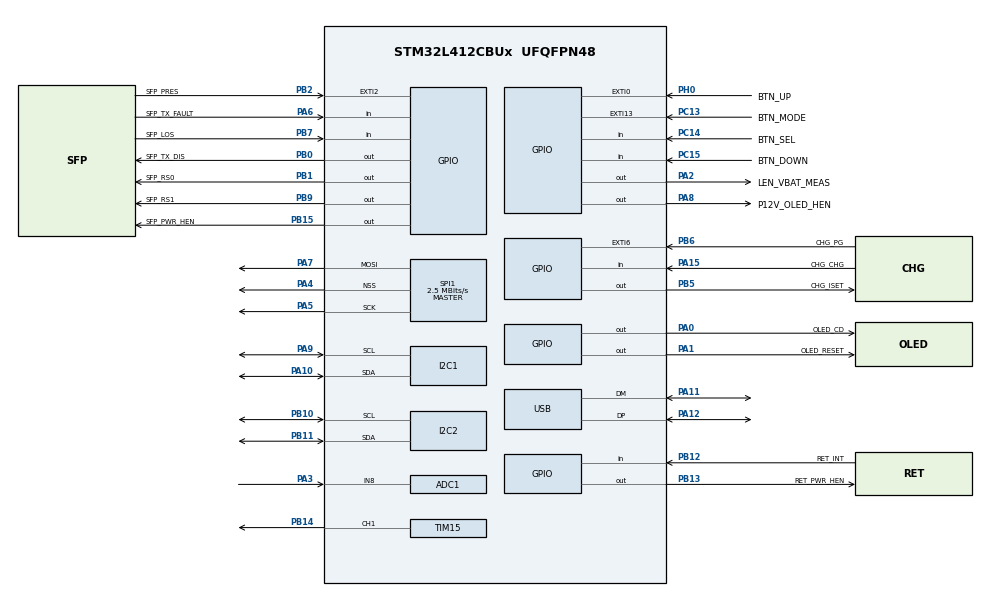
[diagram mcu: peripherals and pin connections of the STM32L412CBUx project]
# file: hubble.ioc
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ADC1.Channel-1\#ChannelRegularConversion=ADC_CHANNEL_8
ADC1.ClockPrescaler=ADC_CLOCK_ASYNC_DIV16
ADC1.NbrOfConversionFlag=1
ADC1.OffsetNumber-1\#ChannelRegularConversion=ADC_OFFSET_NONE
ADC1.Rank-1\#ChannelRegularConversion=1
ADC1.SamplingTime-1\#ChannelRegularConversion=ADC_SAMPLETIME_2CYCLES_5
ADC1.master=1
FREERTOS.Tasks01=defaultTask,24,256,StartDefaultTask,Default,NULL,Static,defaultTaskBuffer,defaultTaskControlBlock
FREERTOS.configLIBRARY_MAX_SYSCALL_INTERRUPT_PRIORITY=5
Mcu.Family=STM32L4
Mcu.Name=STM32L412CBUx
Mcu.Package=UFQFPN48
NVIC.EXTI0_IRQn=true\:5\:0\:false\:false\:true\:true\:true\:true
NVIC.EXTI15_10_IRQn=true\:0\:0\:false\:false\:true\:false\:true\:true
NVIC.EXTI2_IRQn=true\:5\:0\:false\:false\:true\:true\:true\:true
NVIC.EXTI9_5_IRQn=true\:5\:0\:false\:false\:true\:true\:true\:true
NVIC.PriorityGroup=NVIC_PRIORITYGROUP_4
NVIC.TIM1_UP_TIM16_IRQn=true\:0\:0\:false\:false\:true\:false\:false\:true
NVIC.TimeBase=TIM1_UP_TIM16_IRQn
NVIC.TimeBaseIP=TIM1
NVIC.USB_IRQn=true\:5\:0\:false\:false\:true\:true\:false\:true
PA0.GPIO_Label=OLED_CD
PA0.Signal=GPIO_Output
PA1.GPIO_Label=OLED_RESET
PA1.Signal=GPIO_Output
PA10.Mode=I2C
PA10.Signal=I2C1_SDA
PA11.Mode=Device
PA11.Signal=USB_DM
PA12.Mode=Device
PA12.Signal=USB_DP
PA13\ (JTMS/SWDIO).Mode=Trace_Asynchronous_SW
PA13\ (JTMS/SWDIO).Signal=SYS_JTMS-SWDIO
PA14\ (JTCK/SWCLK).Mode=Trace_Asynchronous_SW
PA14\ (JTCK/SWCLK).Signal=SYS_JTCK-SWCLK
PA15\ (JTDI).GPIO_Label=CHG_CHG
PA15\ (JTDI).GPIO_PuPd=GPIO_PULLUP
PA15\ (JTDI).Signal=GPIO_Input
PA2.GPIO_Label=LEN_VBAT_MEAS
PA2.Signal=GPIO_Output
PA3.Signal=ADCx_IN8
PA4.Mode=NSS_Signal_Hard_Output
PA4.Signal=SPI1_NSS
PA5.Mode=TX_Only_Simplex_Unidirect_Master
PA5.Signal=SPI1_SCK
PA6.GPIO_Label=SFP_TX_FAULT
PA6.GPIO_PuPd=GPIO_PULLUP
PA6.Signal=GPIO_Input
PA7.Mode=TX_Only_Simplex_Unidirect_Master
PA7.Signal=SPI1_MOSI
PA8.GPIO_Label=P12V_OLED_HEN
PA8.Signal=GPIO_Output
PA9.Mode=I2C
PA9.Signal=I2C1_SCL
PB0.GPIO_Label=SFP_TX_DIS
PB0.Signal=GPIO_Output
PB1.GPIO_Label=SFP_RS0
PB1.Signal=GPIO_Output
PB10.Mode=I2C
PB10.Signal=I2C2_SCL
PB11.Mode=I2C
PB11.Signal=I2C2_SDA
PB12.GPIO_Label=RET_INT
PB12.GPIO_PuPd=GPIO_PULLDOWN
PB12.Signal=GPIO_Input
PB13.GPIO_Label=RET_PWR_HEN
PB13.Signal=GPIO_Output
PB14.Signal=S_TIM15_CH1
PB15.GPIO_Label=SFP_PWR_HEN
PB15.Signal=GPIO_Output
PB2.GPIO_Label=SFP_PRES
PB2.GPIO_ModeDefaultEXTI=GPIO_MODE_IT_FALLING
PB2.GPIO_PuPd=GPIO_PULLUP
PB2.Signal=GPXTI2
PB3\ (JTDO/TRACESWO).Mode=Trace_Asynchronous_SW
PB3\ (JTDO/TRACESWO).Signal=SYS_JTDO-SWO
PB5.GPIO_Label=CHG_ISET
PB5.Signal=GPIO_Output
PB6.GPIO_Label=CHG_PG
PB6.GPIO_ModeDefaultEXTI=GPIO_MODE_IT_RISING_FALLING
PB6.GPIO_PuPd=GPIO_PULLUP
PB6.Signal=GPXTI6
PB7.GPIO_Label=SFP_LOS
PB7.GPIO_PuPd=GPIO_PULLUP
PB7.Signal=GPIO_Input
PB9.GPIO_Label=SFP_RS1
PB9.Signal=GPIO_Output
PC13.GPIO_Label=BTN_MODE
PC13.GPIO_ModeDefaultEXTI=GPIO_MODE_IT_FALLING
PC13.GPIO_PuPd=GPIO_PULLUP
PC13.Signal=GPXTI13
PC14-OSC32_IN\ (PC14).GPIO_Label=BTN_SEL
PC14-OSC32_IN\ (PC14).GPIO_PuPd=GPIO_PULLUP
PC14-OSC32_IN\ (PC14).Signal=GPIO_Input
PC15-OSC32_OUT\ (PC15).GPIO_Label=BTN_DOWN
PC15-OSC32_OUT\ (PC15).GPIO_PuPd=GPIO_PULLUP
PC15-OSC32_OUT\ (PC15).Signal=GPIO_Input
PH0-OSC_IN\ (PH0).GPIO_Label=BTN_UP
PH0-OSC_IN\ (PH0).GPIO_ModeDefaultEXTI=GPIO_MODE_IT_FALLING
PH0-OSC_IN\ (PH0).GPIO_PuPd=GPIO_PULLUP
PH0-OSC_IN\ (PH0).Signal=GPXTI0
ProjectManager.HeapSize=0x200
ProjectManager.StackSize=0x400
ProjectManager.TargetToolchain=Makefile
RCC.ADCFreq_Value=80000000
RCC.AHBFreq_Value=80000000
RCC.APB1Freq_Value=80000000
RCC.APB1TimFreq_Value=80000000
RCC.APB2Freq_Value=80000000
RCC.APB2TimFreq_Value=80000000
RCC.CK48CLockSelection=RCC_USBCLKSOURCE_HSI48
RCC.CortexFreq_Value=80000000
RCC.HCLKFreq_Value=80000000
RCC.HSE_VALUE=8000000
RCC.HSI48_VALUE=48000000
RCC.HSI_VALUE=16000000
RCC.LSE_VALUE=32768
RCC.MSIClockRange=RCC_MSIRANGE_11
RCC.MSI_VALUE=48000000
RCC.PLLN=10
RCC.PLLSourceVirtual=RCC_PLLSOURCE_HSI
RCC.SYSCLKFreq_VALUE=80000000
RCC.SYSCLKSource=RCC_SYSCLKSOURCE_PLLCLK
RCC.USBFreq_Value=48000000
RCC.VCOOutputFreq_Value=160000000
SH.ADCx_IN8.0=ADC1_IN8,IN8-Single-Ended
SH.S_TIM15_CH1.0=TIM15_CH1,PWM Generation1 CH1
SPI1.BaudRatePrescaler=SPI_BAUDRATEPRESCALER_32
SPI1.CalculateBaudRate=2.5 MBits/s
SPI1.DataSize=SPI_DATASIZE_8BIT
SPI1.Direction=SPI_DIRECTION_2LINES
SPI1.Mode=SPI_MODE_MASTER
SPI1.VirtualNSS=VM_NSSHARD
SPI1.VirtualType=VM_MASTER
TIM15.Channel-PWM\ Generation1\ CH1=TIM_CHANNEL_1
TIM15.Period=65535
TIM15.Prescaler=5
USB_DEVICE.CLASS_NAME_FS=CDC
USB_DEVICE.VirtualMode=Cdc
USB_DEVICE.VirtualModeFS=Cdc_FS
VP_ADC1_Vref_Input.Mode=IN-Vrefint
VP_CRC_VS_CRC.Mode=CRC_Activate
VP_FREERTOS_VS_CMSIS_V2.Mode=CMSIS_V2
VP_RCC_USB.Mode=CRS SYNC Source USB
VP_SYS_VS_tim1.Mode=TIM1
VP_TIM15_VS_ClockSourceINT.Mode=Internal
VP_USB_DEVICE_VS_USB_DEVICE_CDC_FS.Mode=CDC_FS
board=custom

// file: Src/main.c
/* USER CODE BEGIN Header */
/* USER CODE END Header */

#include "main.h"
#include "cmsis_os.h"
#include "usb_device.h"

/* USER CODE BEGIN Includes */
#include "dpy_trg.h"
#include "led_trg.h"
#include "sfp_trg.h"
#include "bat_trg.h"
#include "os.h"
#include "common/event.h"
#include "common/dpy.h"
#include "common/led.h"
#include "common/led_hw.h"
#include "common/view.h"
#include "common/auto_off.h"
#include "common/bat_hw.h"
#include "common/dfu_hw.h"
#include "common/views/views.h"
#include "debounce.h"
#include "usbd_core.h"
#include "version_info.h"
#include "persist.h"
/* USER CODE END Includes */

ADC_HandleTypeDef hadc1;

CRC_HandleTypeDef hcrc;

I2C_HandleTypeDef hi2c1;
I2C_HandleTypeDef hi2c2;

SPI_HandleTypeDef hspi1;

TIM_HandleTypeDef htim15;

typedef StaticTask_t osStaticThreadDef_t;
osThreadId_t defaultTaskHandle;
uint32_t defaultTaskBuffer[ 256 ];
osStaticThreadDef_t defaultTaskControlBlock;
/* USER CODE BEGIN PV */
const version_info_t g_version_info __attribute__ ((section (".version_info"))) = {.sig = VERSION_INFO_SIG};

/* USER CODE END PV */

void SystemClock_Config(void);
static void MX_GPIO_Init(void);
static void MX_ADC1_Init(void);
static void MX_I2C1_Init(void);
static void MX_I2C2_Init(void);
static void MX_SPI1_Init(void);
static void MX_TIM15_Init(void);
static void MX_CRC_Init(void);
void StartDefaultTask(void *argument);

/* USER CODE BEGIN 0 */
void enter_bootloader(void) {
	NVIC_SystemReset();
}
/* USER CODE END 0 */

int main(void)
{

  /* MCU Configuration--------------------------------------------------------*/

  /* Reset of all peripherals, Initializes the Flash interface and the Systick. */
  HAL_Init();

  /* Configure the system clock */
  SystemClock_Config();

  /* USER CODE BEGIN SysInit */
  HAL_InitTick(TICK_INT_PRIORITY);
  /* USER CODE END SysInit */

  /* Initialize all configured peripherals */
  MX_GPIO_Init();
  MX_ADC1_Init();
  MX_I2C1_Init();
  MX_I2C2_Init();
  MX_SPI1_Init();
  MX_TIM15_Init();
  MX_CRC_Init();
  /* USER CODE BEGIN 2 */
    dpy_trg_init(&hspi1);
    sfp_trg_init(&hi2c2);
    ret_trg_init(&hi2c1);
    led_trg_init(&htim15);
    bat_trg_init(&hadc1);
    led_hw_set(0xffff);
    HAL_Delay(10);
    led_hw_set(0);
    persist_recall();
    __HAL_FLASH_CLEAR_FLAG(FLASH_FLAG_ALL_ERRORS);
  /* USER CODE END 2 */

  osKernelInitialize();

  /* Create the thread(s) */
  /* definition and creation of defaultTask */
  const osThreadAttr_t defaultTask_attributes = {
    .name = "defaultTask",
    .stack_mem = &defaultTaskBuffer[0],
    .stack_size = sizeof(defaultTaskBuffer),
    .cb_mem = &defaultTaskControlBlock,
    .cb_size = sizeof(defaultTaskControlBlock),
    .priority = (osPriority_t) osPriorityNormal,
  };
  defaultTaskHandle = osThreadNew(StartDefaultTask, NULL, &defaultTask_attributes);

  /* USER CODE BEGIN RTOS_THREADS */
  os_init();
  /* USER CODE END RTOS_THREADS */

  /* Start scheduler */
  osKernelStart();

  /* We should never get here as control is now taken by the scheduler */

  /* Infinite loop */
    while (1) {

    }
}

void SystemClock_Config(void)
{
  LL_FLASH_SetLatency(LL_FLASH_LATENCY_4);

  if(LL_FLASH_GetLatency() != LL_FLASH_LATENCY_4)
  {
  Error_Handler();
  }
  LL_PWR_SetRegulVoltageScaling(LL_PWR_REGU_VOLTAGE_SCALE1);
  LL_RCC_HSI_Enable();

   /* Wait till HSI is ready */
  while(LL_RCC_HSI_IsReady() != 1)
  {

  }
  LL_RCC_HSI_SetCalibTrimming(64);
  LL_RCC_HSI48_Enable();

   /* Wait till HSI48 is ready */
  while(LL_RCC_HSI48_IsReady() != 1)
  {

  }
  LL_RCC_PLL_ConfigDomain_SYS(LL_RCC_PLLSOURCE_HSI, LL_RCC_PLLM_DIV_1, 10, LL_RCC_PLLR_DIV_2);
  LL_RCC_PLL_EnableDomain_SYS();
  LL_RCC_PLL_Enable();

   /* Wait till PLL is ready */
  while(LL_RCC_PLL_IsReady() != 1)
  {

  }
  LL_RCC_SetSysClkSource(LL_RCC_SYS_CLKSOURCE_PLL);

   /* Wait till System clock is ready */
  while(LL_RCC_GetSysClkSource() != LL_RCC_SYS_CLKSOURCE_STATUS_PLL)
  {

  }
  LL_RCC_SetAHBPrescaler(LL_RCC_SYSCLK_DIV_1);
  LL_RCC_SetAPB1Prescaler(LL_RCC_APB1_DIV_1);
  LL_RCC_SetAPB2Prescaler(LL_RCC_APB2_DIV_1);
  LL_SetSystemCoreClock(80000000);
  LL_RCC_SetI2CClockSource(LL_RCC_I2C1_CLKSOURCE_PCLK1);
  LL_RCC_SetI2CClockSource(LL_RCC_I2C2_CLKSOURCE_PCLK1);
  LL_RCC_SetUSBClockSource(LL_RCC_USB_CLKSOURCE_HSI48);
  LL_APB1_GRP1_EnableClock(LL_APB1_GRP1_PERIPH_CRS);
  LL_APB1_GRP1_ForceReset(LL_APB1_GRP1_PERIPH_CRS);
  LL_APB1_GRP1_ReleaseReset(LL_APB1_GRP1_PERIPH_CRS);
  LL_CRS_SetSyncDivider(LL_CRS_SYNC_DIV_1);
  LL_CRS_SetSyncPolarity(LL_CRS_SYNC_POLARITY_RISING);
  LL_CRS_SetSyncSignalSource(LL_CRS_SYNC_SOURCE_USB);
  LL_CRS_SetReloadCounter(__LL_CRS_CALC_CALCULATE_RELOADVALUE(48000000,1000));
  LL_CRS_SetFreqErrorLimit(34);
  LL_CRS_SetHSI48SmoothTrimming(32);
}

static void MX_ADC1_Init(void)
{

  ADC_MultiModeTypeDef multimode = {0};
  ADC_ChannelConfTypeDef sConfig = {0};

  /** Common config
  */
  hadc1.Instance = ADC1;
  hadc1.Init.ClockPrescaler = ADC_CLOCK_ASYNC_DIV16;
  hadc1.Init.Resolution = ADC_RESOLUTION_12B;
  hadc1.Init.DataAlign = ADC_DATAALIGN_RIGHT;
  hadc1.Init.ScanConvMode = ADC_SCAN_DISABLE;
  hadc1.Init.EOCSelection = ADC_EOC_SINGLE_CONV;
  hadc1.Init.LowPowerAutoWait = DISABLE;
  hadc1.Init.ContinuousConvMode = DISABLE;
  hadc1.Init.NbrOfConversion = 1;
  hadc1.Init.DiscontinuousConvMode = DISABLE;
  hadc1.Init.ExternalTrigConv = ADC_SOFTWARE_START;
  hadc1.Init.ExternalTrigConvEdge = ADC_EXTERNALTRIGCONVEDGE_NONE;
  hadc1.Init.DMAContinuousRequests = DISABLE;
  hadc1.Init.Overrun = ADC_OVR_DATA_PRESERVED;
  hadc1.Init.OversamplingMode = DISABLE;
  if (HAL_ADC_Init(&hadc1) != HAL_OK)
  {
    Error_Handler();
  }
  /** Configure the ADC multi-mode
  */
  multimode.Mode = ADC_MODE_INDEPENDENT;
  if (HAL_ADCEx_MultiModeConfigChannel(&hadc1, &multimode) != HAL_OK)
  {
    Error_Handler();
  }
  /** Configure Regular Channel
  */
  sConfig.Channel = ADC_CHANNEL_8;
  sConfig.Rank = ADC_REGULAR_RANK_1;
  sConfig.SamplingTime = ADC_SAMPLETIME_2CYCLES_5;
  sConfig.SingleDiff = ADC_SINGLE_ENDED;
  sConfig.OffsetNumber = ADC_OFFSET_NONE;
  sConfig.Offset = 0;
  if (HAL_ADC_ConfigChannel(&hadc1, &sConfig) != HAL_OK)
  {
    Error_Handler();
  }

}

static void MX_CRC_Init(void)
{

  hcrc.Instance = CRC;
  hcrc.Init.DefaultPolynomialUse = DEFAULT_POLYNOMIAL_ENABLE;
  hcrc.Init.DefaultInitValueUse = DEFAULT_INIT_VALUE_ENABLE;
  hcrc.Init.InputDataInversionMode = CRC_INPUTDATA_INVERSION_NONE;
  hcrc.Init.OutputDataInversionMode = CRC_OUTPUTDATA_INVERSION_DISABLE;
  hcrc.InputDataFormat = CRC_INPUTDATA_FORMAT_BYTES;
  if (HAL_CRC_Init(&hcrc) != HAL_OK)
  {
    Error_Handler();
  }

}

static void MX_I2C1_Init(void)
{

  hi2c1.Instance = I2C1;
  hi2c1.Init.Timing = 0x10909CEC;
  hi2c1.Init.OwnAddress1 = 0;
  hi2c1.Init.AddressingMode = I2C_ADDRESSINGMODE_7BIT;
  hi2c1.Init.DualAddressMode = I2C_DUALADDRESS_DISABLE;
  hi2c1.Init.OwnAddress2 = 0;
  hi2c1.Init.OwnAddress2Masks = I2C_OA2_NOMASK;
  hi2c1.Init.GeneralCallMode = I2C_GENERALCALL_DISABLE;
  hi2c1.Init.NoStretchMode = I2C_NOSTRETCH_DISABLE;
  if (HAL_I2C_Init(&hi2c1) != HAL_OK)
  {
    Error_Handler();
  }
  /** Configure Analogue filter
  */
  if (HAL_I2CEx_ConfigAnalogFilter(&hi2c1, I2C_ANALOGFILTER_ENABLE) != HAL_OK)
  {
    Error_Handler();
  }
  /** Configure Digital filter
  */
  if (HAL_I2CEx_ConfigDigitalFilter(&hi2c1, 0) != HAL_OK)
  {
    Error_Handler();
  }

}

static void MX_I2C2_Init(void)
{

  hi2c2.Instance = I2C2;
  hi2c2.Init.Timing = 0x10909CEC;
  hi2c2.Init.OwnAddress1 = 0;
  hi2c2.Init.AddressingMode = I2C_ADDRESSINGMODE_7BIT;
  hi2c2.Init.DualAddressMode = I2C_DUALADDRESS_DISABLE;
  hi2c2.Init.OwnAddress2 = 0;
  hi2c2.Init.OwnAddress2Masks = I2C_OA2_NOMASK;
  hi2c2.Init.GeneralCallMode = I2C_GENERALCALL_DISABLE;
  hi2c2.Init.NoStretchMode = I2C_NOSTRETCH_DISABLE;
  if (HAL_I2C_Init(&hi2c2) != HAL_OK)
  {
    Error_Handler();
  }
  /** Configure Analogue filter
  */
  if (HAL_I2CEx_ConfigAnalogFilter(&hi2c2, I2C_ANALOGFILTER_ENABLE) != HAL_OK)
  {
    Error_Handler();
  }
  /** Configure Digital filter
  */
  if (HAL_I2CEx_ConfigDigitalFilter(&hi2c2, 0) != HAL_OK)
  {
    Error_Handler();
  }

}

static void MX_SPI1_Init(void)
{

  /* SPI1 parameter configuration*/
  hspi1.Instance = SPI1;
  hspi1.Init.Mode = SPI_MODE_MASTER;
  hspi1.Init.Direction = SPI_DIRECTION_2LINES;
  hspi1.Init.DataSize = SPI_DATASIZE_8BIT;
  hspi1.Init.CLKPolarity = SPI_POLARITY_LOW;
  hspi1.Init.CLKPhase = SPI_PHASE_1EDGE;
  hspi1.Init.NSS = SPI_NSS_HARD_OUTPUT;
  hspi1.Init.BaudRatePrescaler = SPI_BAUDRATEPRESCALER_32;
  hspi1.Init.FirstBit = SPI_FIRSTBIT_MSB;
  hspi1.Init.TIMode = SPI_TIMODE_DISABLE;
  hspi1.Init.CRCCalculation = SPI_CRCCALCULATION_DISABLE;
  hspi1.Init.CRCPolynomial = 7;
  hspi1.Init.CRCLength = SPI_CRC_LENGTH_DATASIZE;
  hspi1.Init.NSSPMode = SPI_NSS_PULSE_ENABLE;
  if (HAL_SPI_Init(&hspi1) != HAL_OK)
  {
    Error_Handler();
  }

}

static void MX_TIM15_Init(void)
{

  TIM_ClockConfigTypeDef sClockSourceConfig = {0};
  TIM_MasterConfigTypeDef sMasterConfig = {0};
  TIM_OC_InitTypeDef sConfigOC = {0};
  TIM_BreakDeadTimeConfigTypeDef sBreakDeadTimeConfig = {0};

  htim15.Instance = TIM15;
  htim15.Init.Prescaler = 5;
  htim15.Init.CounterMode = TIM_COUNTERMODE_UP;
  htim15.Init.Period = 65535;
  htim15.Init.ClockDivision = TIM_CLOCKDIVISION_DIV1;
  htim15.Init.RepetitionCounter = 0;
  htim15.Init.AutoReloadPreload = TIM_AUTORELOAD_PRELOAD_DISABLE;
  if (HAL_TIM_Base_Init(&htim15) != HAL_OK)
  {
    Error_Handler();
  }
  sClockSourceConfig.ClockSource = TIM_CLOCKSOURCE_INTERNAL;
  if (HAL_TIM_ConfigClockSource(&htim15, &sClockSourceConfig) != HAL_OK)
  {
    Error_Handler();
  }
  if (HAL_TIM_PWM_Init(&htim15) != HAL_OK)
  {
    Error_Handler();
  }
  sMasterConfig.MasterOutputTrigger = TIM_TRGO_RESET;
  sMasterConfig.MasterSlaveMode = TIM_MASTERSLAVEMODE_DISABLE;
  if (HAL_TIMEx_MasterConfigSynchronization(&htim15, &sMasterConfig) != HAL_OK)
  {
    Error_Handler();
  }
  sConfigOC.OCMode = TIM_OCMODE_PWM1;
  sConfigOC.Pulse = 0;
  sConfigOC.OCPolarity = TIM_OCPOLARITY_HIGH;
  sConfigOC.OCNPolarity = TIM_OCNPOLARITY_HIGH;
  sConfigOC.OCFastMode = TIM_OCFAST_DISABLE;
  sConfigOC.OCIdleState = TIM_OCIDLESTATE_RESET;
  sConfigOC.OCNIdleState = TIM_OCNIDLESTATE_RESET;
  if (HAL_TIM_PWM_ConfigChannel(&htim15, &sConfigOC, TIM_CHANNEL_1) != HAL_OK)
  {
    Error_Handler();
  }
  sBreakDeadTimeConfig.OffStateRunMode = TIM_OSSR_DISABLE;
  sBreakDeadTimeConfig.OffStateIDLEMode = TIM_OSSI_DISABLE;
  sBreakDeadTimeConfig.LockLevel = TIM_LOCKLEVEL_OFF;
  sBreakDeadTimeConfig.DeadTime = 0;
  sBreakDeadTimeConfig.BreakState = TIM_BREAK_DISABLE;
  sBreakDeadTimeConfig.BreakPolarity = TIM_BREAKPOLARITY_HIGH;
  sBreakDeadTimeConfig.AutomaticOutput = TIM_AUTOMATICOUTPUT_DISABLE;
  if (HAL_TIMEx_ConfigBreakDeadTime(&htim15, &sBreakDeadTimeConfig) != HAL_OK)
  {
    Error_Handler();
  }
  HAL_TIM_MspPostInit(&htim15);

}

static void MX_GPIO_Init(void)
{
  GPIO_InitTypeDef GPIO_InitStruct = {0};

  /* GPIO Ports Clock Enable */
  __HAL_RCC_GPIOC_CLK_ENABLE();
  __HAL_RCC_GPIOH_CLK_ENABLE();
  __HAL_RCC_GPIOA_CLK_ENABLE();
  __HAL_RCC_GPIOB_CLK_ENABLE();

  /*Configure GPIO pin Output Level */
  HAL_GPIO_WritePin(GPIOA, OLED_CD_Pin|OLED_RESET_Pin|LEN_VBAT_MEAS_Pin|P12V_OLED_HEN_Pin, GPIO_PIN_RESET);

  /*Configure GPIO pin Output Level */
  HAL_GPIO_WritePin(GPIOB, SFP_TX_DIS_Pin|SFP_RS0_Pin|RET_PWR_HEN_Pin|SFP_PWR_HEN_Pin
                          |CHG_ISET_Pin|SFP_RS1_Pin, GPIO_PIN_RESET);

  /*Configure GPIO pin : BTN_MODE_Pin */
  GPIO_InitStruct.Pin = BTN_MODE_Pin;
  GPIO_InitStruct.Mode = GPIO_MODE_IT_FALLING;
  GPIO_InitStruct.Pull = GPIO_PULLUP;
  HAL_GPIO_Init(BTN_MODE_GPIO_Port, &GPIO_InitStruct);

  /*Configure GPIO pins : BTN_SEL_Pin BTN_DOWN_Pin */
  GPIO_InitStruct.Pin = BTN_SEL_Pin|BTN_DOWN_Pin;
  GPIO_InitStruct.Mode = GPIO_MODE_INPUT;
  GPIO_InitStruct.Pull = GPIO_PULLUP;
  HAL_GPIO_Init(GPIOC, &GPIO_InitStruct);

  /*Configure GPIO pin : BTN_UP_Pin */
  GPIO_InitStruct.Pin = BTN_UP_Pin;
  GPIO_InitStruct.Mode = GPIO_MODE_IT_FALLING;
  GPIO_InitStruct.Pull = GPIO_PULLUP;
  HAL_GPIO_Init(BTN_UP_GPIO_Port, &GPIO_InitStruct);

  /*Configure GPIO pins : PH1 PH3 */
  GPIO_InitStruct.Pin = GPIO_PIN_1|GPIO_PIN_3;
  GPIO_InitStruct.Mode = GPIO_MODE_ANALOG;
  GPIO_InitStruct.Pull = GPIO_NOPULL;
  HAL_GPIO_Init(GPIOH, &GPIO_InitStruct);

  /*Configure GPIO pins : OLED_CD_Pin OLED_RESET_Pin LEN_VBAT_MEAS_Pin P12V_OLED_HEN_Pin */
  GPIO_InitStruct.Pin = OLED_CD_Pin|OLED_RESET_Pin|LEN_VBAT_MEAS_Pin|P12V_OLED_HEN_Pin;
  GPIO_InitStruct.Mode = GPIO_MODE_OUTPUT_PP;
  GPIO_InitStruct.Pull = GPIO_NOPULL;
  GPIO_InitStruct.Speed = GPIO_SPEED_FREQ_LOW;
  HAL_GPIO_Init(GPIOA, &GPIO_InitStruct);

  /*Configure GPIO pins : SFP_TX_FAULT_Pin CHG_CHG_Pin */
  GPIO_InitStruct.Pin = SFP_TX_FAULT_Pin|CHG_CHG_Pin;
  GPIO_InitStruct.Mode = GPIO_MODE_INPUT;
  GPIO_InitStruct.Pull = GPIO_PULLUP;
  HAL_GPIO_Init(GPIOA, &GPIO_InitStruct);

  /*Configure GPIO pins : SFP_TX_DIS_Pin SFP_RS0_Pin RET_PWR_HEN_Pin SFP_PWR_HEN_Pin
                           CHG_ISET_Pin SFP_RS1_Pin */
  GPIO_InitStruct.Pin = SFP_TX_DIS_Pin|SFP_RS0_Pin|RET_PWR_HEN_Pin|SFP_PWR_HEN_Pin
                          |CHG_ISET_Pin|SFP_RS1_Pin;
  GPIO_InitStruct.Mode = GPIO_MODE_OUTPUT_PP;
  GPIO_InitStruct.Pull = GPIO_NOPULL;
  GPIO_InitStruct.Speed = GPIO_SPEED_FREQ_LOW;
  HAL_GPIO_Init(GPIOB, &GPIO_InitStruct);

  /*Configure GPIO pin : SFP_PRES_Pin */
  GPIO_InitStruct.Pin = SFP_PRES_Pin;
  GPIO_InitStruct.Mode = GPIO_MODE_IT_FALLING;
  GPIO_InitStruct.Pull = GPIO_PULLUP;
  HAL_GPIO_Init(SFP_PRES_GPIO_Port, &GPIO_InitStruct);

  /*Configure GPIO pin : RET_INT_Pin */
  GPIO_InitStruct.Pin = RET_INT_Pin;
  GPIO_InitStruct.Mode = GPIO_MODE_INPUT;
  GPIO_InitStruct.Pull = GPIO_PULLDOWN;
  HAL_GPIO_Init(RET_INT_GPIO_Port, &GPIO_InitStruct);

  /*Configure GPIO pins : PB4 PB8 */
  GPIO_InitStruct.Pin = GPIO_PIN_4|GPIO_PIN_8;
  GPIO_InitStruct.Mode = GPIO_MODE_ANALOG;
  GPIO_InitStruct.Pull = GPIO_NOPULL;
  HAL_GPIO_Init(GPIOB, &GPIO_InitStruct);

  /*Configure GPIO pin : CHG_PG_Pin */
  GPIO_InitStruct.Pin = CHG_PG_Pin;
  GPIO_InitStruct.Mode = GPIO_MODE_IT_RISING_FALLING;
  GPIO_InitStruct.Pull = GPIO_PULLUP;
  HAL_GPIO_Init(CHG_PG_GPIO_Port, &GPIO_InitStruct);

  /*Configure GPIO pin : SFP_LOS_Pin */
  GPIO_InitStruct.Pin = SFP_LOS_Pin;
  GPIO_InitStruct.Mode = GPIO_MODE_INPUT;
  GPIO_InitStruct.Pull = GPIO_PULLUP;
  HAL_GPIO_Init(SFP_LOS_GPIO_Port, &GPIO_InitStruct);

  /* EXTI interrupt init*/
  HAL_NVIC_SetPriority(EXTI0_IRQn, 5, 0);
  HAL_NVIC_EnableIRQ(EXTI0_IRQn);

  HAL_NVIC_SetPriority(EXTI2_IRQn, 5, 0);
  HAL_NVIC_EnableIRQ(EXTI2_IRQn);

  HAL_NVIC_SetPriority(EXTI9_5_IRQn, 5, 0);
  HAL_NVIC_EnableIRQ(EXTI9_5_IRQn);

  HAL_NVIC_SetPriority(EXTI15_10_IRQn, 0, 0);
  HAL_NVIC_EnableIRQ(EXTI15_10_IRQn);

}

/* USER CODE BEGIN 4 */

static volatile uint8_t wakeup_from_button = 0;
static volatile uint8_t wakeup_from_charger = 0;

void HAL_GPIO_EXTI_Callback(uint16_t GPIO_Pin) {
  if(GPIO_Pin == GPIO_PIN_2) {
	wakeup_from_button = 0;
    if(sfp_task) {
      vTaskNotifyGiveFromISR(sfp_task, NULL);
    }
  }
  else if(GPIO_Pin == GPIO_PIN_13) {
	  wakeup_from_button = 1;
	  wakeup_from_charger = 0;
  }
  else if(GPIO_Pin == GPIO_PIN_0) {
	  wakeup_from_button = 1;
	  wakeup_from_charger = 0;
  }
  else if(GPIO_Pin == GPIO_PIN_6) {
	  wakeup_from_button = 0;
	  wakeup_from_charger = 1;
  }
}

extern PCD_HandleTypeDef hpcd_USB_FS;
/* USER CODE END 4 */

/* USER CODE BEGIN Header_StartDefaultTask */
/**
 * @brief  Function implementing the defaultTask thread.
 * @param  argument: Not used
 * @retval None
 */
extern USBD_HandleTypeDef hUsbDeviceFS;
/* USER CODE END Header_StartDefaultTask */
void StartDefaultTask(void *argument)
{
  /* init code for USB_DEVICE */
  MX_USB_DEVICE_Init();
  /* USER CODE BEGIN 5 */
  HAL_NVIC_DisableIRQ(EXTI15_10_IRQn);
  HAL_NVIC_DisableIRQ(EXTI9_5_IRQn);
  HAL_NVIC_DisableIRQ(EXTI0_IRQn);
  dpy_puts(0,0,"Hello");
  dpy_trg_flush();
  view_init(the_views, the_n_views);
  send_event(EVENT_NONE, 0);
    /* Infinite loop */
    for (;;) {
    	event_t ev;
    	xQueueReceive(event_queue, &ev, portMAX_DELAY);
    	if(ev.type == EVENT_BUTTON && ev.param == (EVENT_BUTTON_MODE | EVENT_BUTTON_LONG)) {
    		send_event(EVENT_POWER_OFF, 0);
    	}
    	else if(ev.type == EVENT_POWER_OFF) {
    		dpy_clear();
    		dpy_set_font(DPY_FONT_32_BOLD);
    		dpy_puts(8, 16, "bye bye");
    		dpy_trg_flush();
    		persist_save();
    		vTaskDelay(100);
    		sfp_trg_enter_sleep();
    		HAL_I2C_DeInit(&hi2c1);
    		HAL_I2C_DeInit(&hi2c2);
    		USBD_DeInit(&hUsbDeviceFS);
    		dpy_trg_enter_sleep();
    		led_set_state(0);
    		os_enter_sleep();
    		debounce_enter_sleep();
    		wakeup_from_button = 0;
    		wakeup_from_charger = 0;
    		while(1) {
				TIM1->CR1 &= ~TIM_CR1_CEN;
				SysTick->CTRL &= ~SysTick_CTRL_ENABLE_Msk;
				HAL_NVIC_EnableIRQ(EXTI15_10_IRQn);
				HAL_NVIC_EnableIRQ(EXTI9_5_IRQn);
				HAL_NVIC_EnableIRQ(EXTI0_IRQn);

				HAL_PWREx_EnterSTOP2Mode(PWR_STOPENTRY_WFI);

				HAL_NVIC_DisableIRQ(EXTI15_10_IRQn);
				HAL_NVIC_DisableIRQ(EXTI9_5_IRQn);
				HAL_NVIC_DisableIRQ(EXTI0_IRQn);
				SystemClock_Config();
				SysTick->CTRL |= SysTick_CTRL_ENABLE_Msk;
				TIM1->CR1 |= TIM_CR1_CEN;
				if(wakeup_from_button) {
					//while(1);
					uint8_t delay = 0;
					uint8_t led_mode = 0;
					if(!HAL_GPIO_ReadPin(BTN_MODE_GPIO_Port, BTN_MODE_Pin)) { //regular
						while (!HAL_GPIO_ReadPin(BTN_MODE_GPIO_Port, BTN_MODE_Pin) && delay < 200) {
							HAL_Delay(10);
							delay++;
						}
					}
					else if(!HAL_GPIO_ReadPin(BTN_UP_GPIO_Port, BTN_UP_Pin)) { //led
						led_mode = 1;
						while (!HAL_GPIO_ReadPin(BTN_UP_GPIO_Port, BTN_UP_Pin) && delay < 200) {
							HAL_Delay(10);
							delay++;
						}
					}
					if(delay == 200) { //woken up
						wakeup_from_button = 0;
						if(led_mode)
							send_event(EVENT_LED_ON, 0);
						break;
					}

				}
				else {
					break;
				}
				wakeup_from_button = 0;
    		}

    		dpy_clear();
    		dpy_trg_flush();
    		MX_I2C1_Init();
    		MX_I2C2_Init();
    		MX_USB_DEVICE_Init();
    		dpy_trg_exit_sleep();
    		sfp_trg_exit_sleep();
    		os_exit_sleep();
    		debounce_exit_sleep();
    		if(wakeup_from_charger) {
    			auto_off_set_charge_mode();
				wakeup_from_charger = 0;
    		}
    	}
    	else if(ev.type == EVENT_BUTTON && ev.param == (EVENT_BUTTON_SELECT| EVENT_BUTTON_LONG)) {
    		if(HAL_GPIO_ReadPin(BTN_UP_GPIO_Port, BTN_UP_Pin) == 0)
    			NVIC_SystemReset();
    	}

    	if(auto_off_get_charge_mode()) {
    		dpy_clear();
    		dpy_set_font(DPY_FONT_24_BOLD);
    		uint8_t state = bat_hw_get_state();
    		if(state&BAT_STATE_PG) {
    			dpy_puts(4, 16, "plugged in");
    		}
    		else {
    			dpy_puts(10, 16, "unplugged");
    		}
    	}
    	else {
    		view_handle_event(&ev);
    	}
    	dpy_trg_flush();
    	auto_off_handle_event(&ev);

        osDelay(1);
    }
  /* USER CODE END 5 */
}

void HAL_TIM_PeriodElapsedCallback(TIM_HandleTypeDef *htim)
{
  if (htim->Instance == TIM1) {
    HAL_IncTick();
  }
}

void Error_Handler(void)
{
}

/************************ (C) COPYRIGHT STMicroelectronics *****END OF FILE****/
